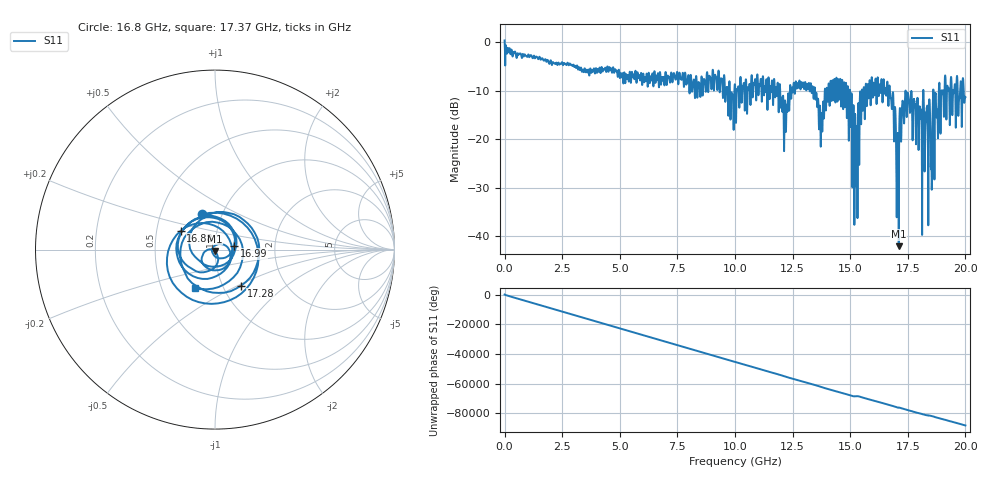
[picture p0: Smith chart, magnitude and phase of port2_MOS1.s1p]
! MS46122B
! 2250307/22442219
! 7/23/2025 7:52:48 AM
! C:\USERS\SPARKY\DOCUMENTS\VNA_DATA\JULY23_2025\3K\PORT2_MOS1.S1P
! CHANNEL.1
! TR.MEASUREMENT
! RAW.DATA
# GHZ S RI R 50.0
! FREQ.GHZ  S11RE  S11IM
!; PortSelection: Port_1
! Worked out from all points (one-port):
!   10001 points, 1 MHz to 20 GHz, reference 50 ohm
!   lowest |S11| = -42.0 dB at 17.11 GHz (marker M1), VSWR 1.02, Z = 49.8 - j0.769 ohm
!   |S11| at or under -10 dB: 14.99 GHz to 15.51 GHz (514.9 MHz wide, 3.38 % of centre); 16.73 GHz to 17.4 GHz (673 MHz wide, 3.94 % of centre); 17.41 GHz to 18.17 GHz (761.9 MHz wide, 4.28 % of centre) (the widest 3 of 83)
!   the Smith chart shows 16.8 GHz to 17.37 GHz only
!   S11 on the Smith chart (normalised r, x): 16.8 GHz: 0.81, +0.33; 16.88 GHz: 0.67, +0.15; 16.99 GHz: 1.23, +0.05; 17.28 GHz: 1.22, -0.52; 17.37 GHz: 0.73, -0.34
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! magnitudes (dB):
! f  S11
! 1 MHz  0.4
! 2.501 GHz  -4.1
! 5.001 GHz  -7.3
! 7.501 GHz  -6.3
! 9.215 GHz  -8.6
! 10 GHz  -8.7
! 11.04 GHz  -8.9
! 12.2 GHz  -15.6
! 12.5 GHz  -10.0
! 13.29 GHz  -8.4
! 13.72 GHz  -21.1
! 14.24 GHz  -7.8
! 15 GHz  -11.5
! 15.25 GHz  -29.7
! 15.51 GHz  -9.9
! 15.76 GHz  -8.6
! 16.8 GHz  -13.6
! 16.88 GHz  -13.2
! 16.99 GHz  -19.4
! 17.11 GHz  -42.0
! 17.28 GHz  -12.1
! 17.37 GHz  -12.3
! 17.5 GHz  -10.4
! 18.19 GHz  -11.1
! 18.38 GHz  -23.6
! 18.47 GHz  -15.8
! 19.05 GHz  -11.4
! 20 GHz  -11.3
